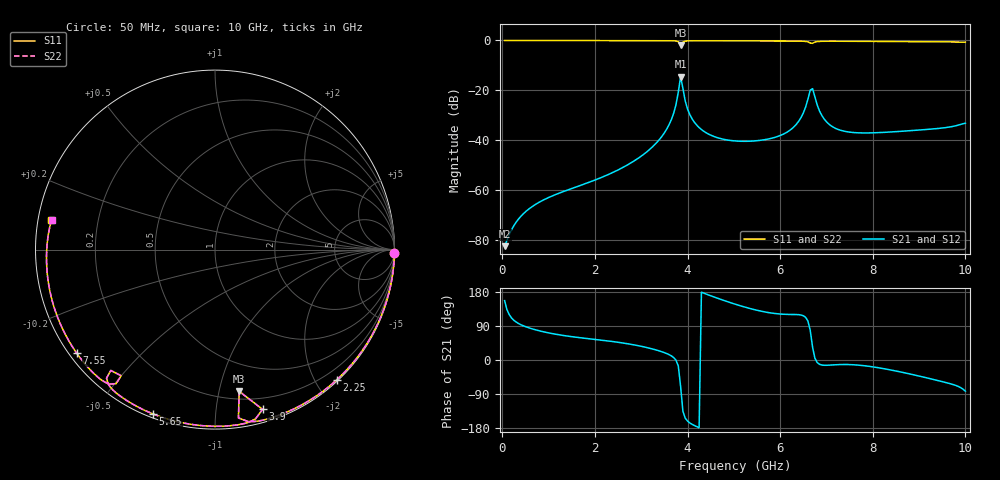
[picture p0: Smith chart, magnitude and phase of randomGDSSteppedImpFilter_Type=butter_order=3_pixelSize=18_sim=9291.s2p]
! freq	dB(S11)	phase(S11)	dB(S12)	phase(S12)
!  dB(S21)	phase(S21)	dB(S22)	phase(S22)
!S-par simulation data
#  GHz  S  DB  R 50
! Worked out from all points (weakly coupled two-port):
!   200 points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, 50 MHz to 10 GHz, reference 50 ohm
!   highest |S21| = -14.50 dB at 3.85 GHz (marker M1); lowest = -82.3 dB at 50 MHz (marker M2)
!   lowest |S11| = -1.9 dB at 3.85 GHz (marker M3), VSWR 9.04, Z = 13.1 - j57.5 ohm
!   |S11| at or under -10 dB: nowhere
!   |S22| runs from -1.9 to 0.0 dB; largest |S21 - S12| = 0
!   S11 on the Smith chart (normalised r, x): 50 MHz: open; 2.25 GHz: 0.02, -2.30; 3.9 GHz: 0.10, -1.34; 5.65 GHz: 0.02, -0.69; 7.55 GHz: 0.02, -0.33; 10 GHz: 0.04, +0.09
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0.05  -0.00 -1.1  -82.34 156.7  -82.34 156.7  -0.00 -1.1
0.65  -0.01 -13.9  -66.43 81.9  -66.43 81.9  -0.01 -13.9
1.75  -0.05 -36.8  -57.60 57.8  -57.60 57.8  -0.05 -36.8
2.25  -0.06 -47.0  -53.97 50.7  -53.97 50.7  -0.06 -47.0
3.4  -0.10 -70.2  -39.48 23.6  -39.48 23.6  -0.10 -70.2
3.7  -0.15 -77.3  -29.16 6.5  -29.16 6.5  -0.15 -77.3
3.8  -0.47 -82.1  -20.78 -15.2  -20.78 -15.2  -0.47 -82.1
3.85  -1.93 -80.3  -14.50 -68.7  -14.50 -68.7  -1.93 -80.3
3.9  -0.64 -73.4  -19.16 -135.1  -19.16 -135.1  -0.64 -73.4
4.05  -0.16 -80.0  -29.69 -166.2  -29.69 -166.2  -0.16 -80.0
4.25  -0.13 -84.6  -34.85 -178.6  -34.85 -178.6  -0.13 -84.6
5.05  -0.16 -99.8  -40.26 146.5  -40.26 146.5  -0.16 -99.8
5.65  -0.19 -110.7  -39.76 127.3  -39.76 127.3  -0.19 -110.7
6.3  -0.24 -122.7  -34.53 120.1  -34.53 120.1  -0.24 -122.7
6.5  -0.32 -127.1  -29.02 116.8  -29.02 116.8  -0.32 -127.1
6.65  -1.02 -130.8  -19.88 78.2  -19.88 78.2  -1.02 -130.8
6.7  -1.15 -126.7  -19.30 33.9  -19.30 33.9  -1.15 -126.7
6.85  -0.37 -129.4  -28.21 -11.3  -28.21 -11.3  -0.37 -129.4
7  -0.31 -132.9  -32.55 -14.0  -32.55 -14.0  -0.31 -132.9
7.55  -0.33 -143.2  -36.80 -12.3  -36.80 -12.3  -0.33 -143.2
8.35  -0.41 -157.7  -36.67 -25.4  -36.67 -25.4  -0.41 -157.7
10  -0.67 169.7  -33.12 -82.2  -33.12 -82.2  -0.67 169.7
